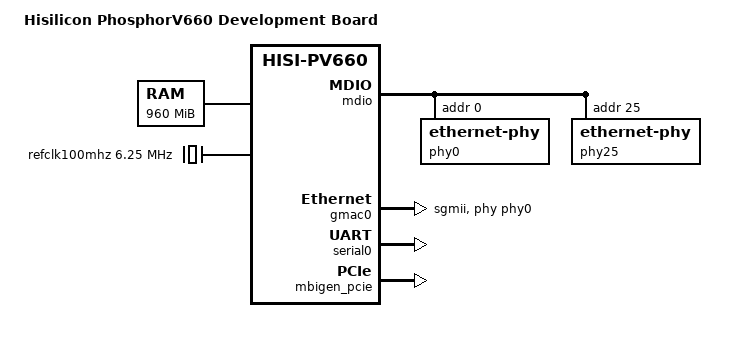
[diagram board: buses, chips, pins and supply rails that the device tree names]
/**
 * dts file for Hisilicon Hi1610
 *
 * Copyright (C) 2014, Hisilicon Ltd.
 *
 * This program is free software; you can redistribute it and/or modify
 * it under the terms of the GNU General Public License version 2 as
 * publishhed by the Free Software Foundation.
 *
 */

/dts-v1/;

/memreserve/ 0x00000000 0x00010000;

/ {
	#address-cells = <2>;
	#size-cells = <2>;
	model = "Hisilicon PhosphorV660 Development Board";
	compatible = "hisilicon,hip05-D02", "hisilicon,hisi-pv660";
	interrupt-parent = <&gic>;

	cpus {
		#address-cells = <1>;
		#size-cells = <0>;

		cpu@20000 {
			device_type = "cpu";
			compatible = "arm,armv8";
			reg = <0x20000>;
			enable-method = "spin-table";
			cpu-release-addr = <0x0 0xfff8>;
		};
	};

	memory@0 {
		device_type = "memory";
		reg = <0x0 0x00000000 0x0 0x3c000000>;
	};

	gic: interrupt-controller@6d000000 {
		compatible = "hisilicon,gic-v3";
		#interrupt-cells = <3>;
		#address-cells = <2>;
		#size-cells = <2>;
		ranges;
		interrupt-controller;
		#redistributor-regions = <1>;
		redistributor-stride = <0x0 0x30000>;
		reg = <0x0 0x6d000000 0x0 0x10000>,	/* GICD */
		      <0x0 0x6d100000 0x0 0x300000>,	/* GICR c*/
		      <0x0 0xfe000000 0x0 0x10000>;	/* GICC */

		its_dsa: interrupt-controller@0xc6000000 {
			compatible = "arm,gic-v3-its";
			msi-controller;
			reg = <0x0 0xc6000000 0x0 0x1000000>;
		};
	};

	smmu_pcie {
		compatible = "arm,smmu-v3";
		reg = <0x0 0xa0040000 0x0 0x20000>;
		interrupt-parent  = <&mbigen_pcie>;
		interrupts = <0x40b0c 3 39 7>,
				<0x40b0c 3 40 7>,
				<0x40b0c 3 41 7>;
		interrupt-names = "EVENTQ", "GERROR", "PIRQ";
		smmu-cb-memtype = <0x0 0x1>;
	};

	smmu_dsa {
		compatible = "arm,smmu-v3";
		reg = <0x0 0xc0040000 0x0 0x20000>;
		interrupt-parent  = <&mbigen_dsa>;
		interrupts = <0x40b20 3 76 6>,
				<0x40b20 3 77 6>,
				<0x40b20 3 78 6>;
		interrupt-names = "EVENTQ", "GERROR", "PIRQ";
		smmu-cb-memtype = <0x0 0x1>;
	};


	smmu_alg {
		compatible = "arm,smmu-v3";
		reg = <0x0 0xd0040000 0x0 0x20000>;
		interrupt-parent  = <&mbigen_alg>;
		interrupts = <0x40b1b 3 28 6>,
				<0x40b1b 3 29 6>,
				<0x40b1b 3 30 6>;
		interrupt-names = "EVENTQ", "GERROR", "PIRQ";
		smmu-cb-memtype = <0x0 0x1>;
	};

	timer {
		compatible = "arm,armv8-timer";
		interrupts = <1 13 4>,
			     <1 14 4>,
			     <1 11 4>,
			     <1 10 4>;
	};

	sas: sas@a3000000 {
		compatible = "pv660, sas_controller";
		reg = <0 0xa3000000 0 0x10000>,
		      <0 0xc1000000 0 0x10000>;
		dma-coherent;
	};

	mdio {
		compatible = "hisilicon, hip05-mdio";
		reg = <0x0 0x603c0000 0x0 0x1000>;
		#address-cells = <0x1>;
		#size-cells = <0x0>;

		phy0: ethernet-phy@0 {
			compatile = "ethernet-phy-ieee802.3-c22";
			reg = <0>;
			max-speed = <10>;
		};

		phy25: ethernet-phy@25 {
			compatile = "ethernet-phy-ieee802.3-c22";
			reg = <25>;
			max-speed = <10>;
		};
	};

	ppe: ppe@c2000000 {
		compatible = "hisilicon, hip05-ppe", "syscon";
		reg = <0 0xc2000000 0 0x1000>;
	};

	ge: ge@c2001000 {
		compatible = "hisilicon, hip05-ge", "syscon";
		reg = <0 0xc2001000 0 0x1000>;
	};

	gmac0: ethernet@c2080000 {
		compatible = "hisilicon, hip05-mac";
		#address-cells = <1>;
		#size-cells = <0>;
		reg = <0 0xc2080000 0 0x20000>,
		      <0 0xc0000000 0 0x1000>;
		interrupt-parent  = <&mbigen_dsa>;
		interrupts = <0x40b1c 9 0 6>, /* rx irq */
			     <0x40b1c 9 1 6>; /* tx irq */

		phy-mode = "sgmii";
		mac-address = [11 11 11 11 11 11];
		phy-handle = <&phy0>;
		ppe-handle = <&ppe 0>;
		ge-handle = <&ge 10 1>;
		dma-coherent;
	};

	pmu {
		compatible = "arm,armv8-pmuv3";
		interrupts = <1 7 4>;
	};

	peripherals {
		compatible = "simple-bus";
		#address-cells = <1>;
		#size-cells = <1>;
		ranges = <0x0 0x00000000 0x0 0xffffffff>;

		refclk100mhz: refclk100mhz {
			compatible = "fixed-clock";
			#clock-cells = <0>;
			clock-frequency = <6250000>;
		};

		serial0: uart@60300000 {
			compatible = "snps,dw-apb-uart";
			reg = <0x60300000 0x10000>;
			interrupts = <0 317 4>;
			clocks = <&refclk100mhz>;
			clock-names = "apb_pclk";
			reg-shift = <2>;
		};

		mbigen_dsa: interrupt-controller@c0080000 {
			compatible = "hisilicon,mbigen-v2";
			msi-parent = <&its_dsa>;
			interrupt-controller;
			#interrupt-cells = <4>;
			reg = <0xc0080000 0x10000>;
		};

		mbigen_pcie: interrupt-controller@a0080000 {
			compatible = "hisilicon,mbigen-v2";
			msi-parent = <&its_dsa>;
			interrupt-controller;
			#interrupt-cells = <4>;
			reg = <0xa0080000 0x10000>;
		};

		mbigen_alg: interrupt-controller@d0080000 {
			compatible = "hisilicon,mbigen-v2";
			msi-parent = <&its_dsa>;
			interrupt-controller;
			#interrupt-cells = <4>;
			reg = <0xd0080000 0x10000>;
		};

	};

	chosen {
		bootargs = "rdinit=/init console=ttyS0 earlycon=uart8250,mmio32,0x60300000";
		linux,initrd-start = <0x7000000>;
		linux,initrd-end = <0xa000000>;
	};
};
